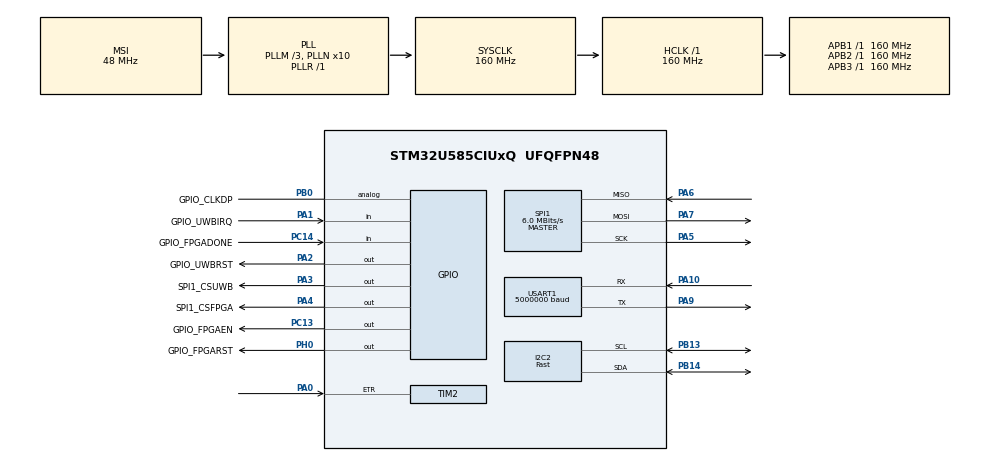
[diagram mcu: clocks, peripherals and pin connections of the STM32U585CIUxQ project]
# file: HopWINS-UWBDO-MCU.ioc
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CORTEX_M33_NS.userName=CORTEX_M33
GPDMA1.DIRECTION_GPDMACH0=DMA_MEMORY_TO_PERIPH
GPDMA1.IPHANDLE_GPDMACH0-SIMPLEREQUEST_GPDMACH0=__NULL
GPDMA1.PRIORITY_GPDMACH0=DMA_HIGH_PRIORITY
GPDMA1.REQUEST_GPDMACH0=GPDMA1_REQUEST_USART1_TX
GPDMA1.SRCINC_GPDMACH0=DMA_SINC_INCREMENTED
GPDMA1.TRANSFERALLOCATEDPORTDEST_GPDMACH0=DMA_DEST_ALLOCATED_PORT1
I2C2.I2C_Speed_Mode=I2C_Fast
I2C2.Timing=0x00F07BFF
Mcu.Family=STM32U5
Mcu.Name=STM32U585CIUxQ
Mcu.Package=UFQFPN48
NVIC.GPDMA1_Channel0_IRQn=true\:5\:0\:false\:false\:true\:false\:true\:true
NVIC.PriorityGroup=NVIC_PRIORITYGROUP_4
NVIC.USART1_IRQn=true\:5\:0\:false\:false\:true\:true\:true\:true
PA0.Signal=S_TIM2_ETR
PA1.GPIO_Label=GPIO_UWBIRQ
PA1.Signal=GPIO_Input
PA10.GPIO_Speed=GPIO_SPEED_FREQ_VERY_HIGH
PA10.Mode=Asynchronous
PA10.Signal=USART1_RX
PA13\ (JTMS/SWDIO).Mode=Trace_Asynchronous_SW
PA13\ (JTMS/SWDIO).Signal=DEBUG_JTMS-SWDIO
PA14\ (JTCK/SWCLK).Mode=Trace_Asynchronous_SW
PA14\ (JTCK/SWCLK).Signal=DEBUG_JTCK-SWCLK
PA2.GPIO_Label=GPIO_UWBRST
PA2.GPIO_ModeDefaultOutputPP=GPIO_MODE_OUTPUT_OD
PA2.GPIO_PuPd=GPIO_NOPULL
PA2.Signal=GPIO_Output
PA3.GPIO_Label=SPI1_CSUWB
PA3.GPIO_Speed=GPIO_SPEED_FREQ_VERY_HIGH
PA3.PinState=GPIO_PIN_SET
PA3.Signal=GPIO_Output
PA4.GPIO_Label=SPI1_CSFPGA
PA4.GPIO_Speed=GPIO_SPEED_FREQ_VERY_HIGH
PA4.PinState=GPIO_PIN_SET
PA4.Signal=GPIO_Output
PA5.Mode=Full_Duplex_Master
PA5.Signal=SPI1_SCK
PA6.Mode=Full_Duplex_Master
PA6.Signal=SPI1_MISO
PA7.Mode=Full_Duplex_Master
PA7.Signal=SPI1_MOSI
PA9.GPIO_Speed=GPIO_SPEED_FREQ_VERY_HIGH
PA9.Mode=Asynchronous
PA9.Signal=USART1_TX
PB0.GPIO_Label=GPIO_CLKDP
PB0.Signal=GPIO_Analog
PB13.Mode=I2C
PB13.Signal=I2C2_SCL
PB14.Mode=I2C
PB14.Signal=I2C2_SDA
PB3\ (JTDO/TRACESWO).Mode=Trace_Asynchronous_SW
PB3\ (JTDO/TRACESWO).Signal=DEBUG_JTDO-SWO
PC13.GPIO_Label=GPIO_FPGAEN
PC13.Signal=GPIO_Output
PC14-OSC32_IN\ (PC14).GPIO_Label=GPIO_FPGADONE
PC14-OSC32_IN\ (PC14).GPIO_PuPd=GPIO_PULLUP
PC14-OSC32_IN\ (PC14).Signal=GPIO_Input
PH0-OSC_IN\ (PH0).GPIO_Label=GPIO_FPGARST
PH0-OSC_IN\ (PH0).GPIO_ModeDefaultOutputPP=GPIO_MODE_OUTPUT_OD
PH0-OSC_IN\ (PH0).GPIO_PuPd=GPIO_PULLUP
PH0-OSC_IN\ (PH0).Signal=GPIO_Output
PWR.PowerMode=PWR_SMPS_SUPPLY
ProjectManager.HeapSize=0x200
ProjectManager.StackSize=0x1000
ProjectManager.TargetToolchain=CMake
RCC.ADCFreq_Value=16000000
RCC.AHBFreq_Value=160000000
RCC.APB1Freq_Value=160000000
RCC.APB1TimFreq_Value=160000000
RCC.APB2Freq_Value=160000000
RCC.APB2TimFreq_Value=160000000
RCC.APB3Freq_Value=160000000
RCC.CortexFreq_Value=160000000
RCC.EPOD_VALUE=48000000
RCC.HCLKFreq_Value=160000000
RCC.HSE_VALUE=16000000
RCC.HSI48_VALUE=48000000
RCC.HSI_VALUE=16000000
RCC.I2C2CLockSelection=RCC_I2C2CLKSOURCE_SYSCLK
RCC.LSE_VALUE=32768
RCC.LSIDIV_VALUE=32000
RCC.MSIClockRange=RCC_MSIRANGE_0
RCC.MSIKClockRange=RCC_MSIKRANGE_0
RCC.MSI_VALUE=48000000
RCC.PLL1R=1
RCC.PLL2FRACN=0
RCC.PLL3FRACN=0
RCC.PLLFRACN=0
RCC.PLLM=3
RCC.PLLN=10
RCC.SPI1CLockSelection=RCC_SPI1CLKSOURCE_MSIK
RCC.SYSCLKFreq_VALUE=160000000
RCC.SYSCLKSource=RCC_SYSCLKSOURCE_PLLCLK
RCC.USART1CLockSelectionVirtual=RCC_USART1CLKSOURCE_SYSCLK
RCC.USBFreq_Value=48000000
RCC.VCOOutputFreq_Value=160000000
RCC.VDD_VALUE=1.8
SH.S_TIM2_ETR.0=TIM2_ETR,ClockSourceETR_Mode2
SPI1.BaudRatePrescaler=SPI_BAUDRATEPRESCALER_8
SPI1.CalculateBaudRate=6.0 MBits/s
SPI1.DataSize=SPI_DATASIZE_8BIT
SPI1.Direction=SPI_DIRECTION_2LINES
SPI1.Mode=SPI_MODE_MASTER
SPI1.VirtualType=VM_MASTER
TIM2.Prescaler=38399
USART1.BaudRate=5000000
USART1.ClockPrescaler=PRESCALER_DIV1
USART1.DMADisableonRxErrorParam=ADVFEATURE_DMA_ENABLEONRXERROR
USART1.FIFOMode=FIFOMODE_ENABLE
USART1.Mode=MODE_TX_RX
USART1.OneBitSampling=UART_ONE_BIT_SAMPLE_DISABLE
USART1.OverrunDisableParam=ADVFEATURE_OVERRUN_ENABLE
USART1.TXFIFOThreshold=TXFIFO_THRESHOLD_1HALFFULL
USART1.VirtualMode-Asynchronous=VM_ASYNC
VP_CRC_VS_CRC.Mode=CRC_Activate
VP_FLASH_SIG_Activate_FlashIP.Mode=Activate_FlashIP
VP_GPDMA1_VS_GPDMACH0.Mode=SIMPLEREQUEST_GPDMACH0
VP_ICACHE_VS_ICACHE.Mode=DirectMappedCache
VP_LPBAMQUEUE_VS_QUEUE.Mode=QUEUEMODE
VP_LPBAM_VS_SIG1.Mode=SmartRun
VP_LPBAM_VS_SIG4.Mode=LPDMA1
VP_MEMORYMAP_VS_MEMORYMAP.Mode=CurAppReg
VP_PWR_VS_LPOM.Mode=PowerOptimisation
VP_PWR_VS_SECSignals.Mode=Security/Privilege
board=custom

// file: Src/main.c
/* USER CODE BEGIN Header */
/**
  ******************************************************************************
  * @file           : main.c
  * @brief          : Main program body
  ******************************************************************************
  * @attention
  *
  * Copyright (c) 2026 STMicroelectronics.
  * All rights reserved.
  *
  * This software is licensed under terms that can be found in the LICENSE file
  * in the root directory of this software component.
  * If no LICENSE file comes with this software, it is provided AS-IS.
  *
  ******************************************************************************
  */
/* USER CODE END Header */
#include "main.h"

/* USER CODE BEGIN Includes */
#include "app.h"
#include "board.h"
#include <string.h>
/* USER CODE END Includes */

/* USER CODE BEGIN PD */
#define HOPWINS_BOARD_VARIANT                  BOARD_VARIANT_FPGA_ICE40UP5K_CLK_DCTCXO_SIT5156_UWB_DW3000_DUAL_RF1_RF2
#define HOPWINS_APP_WORKFLOW                   APP_WORKFLOW_UWB_STS_DUAL_RX_DIAGNOSTIC
#define HOPWINS_UWB_RF_MODE                    DW3000_RF_MODE_MANUAL_1
#define HOPWINS_UWB_PDOA_MODE                  DW3000_PDOA_MODE_DISABLED
#define HOPWINS_CIR_SAMPLE_COUNT               0U
#define HOPWINS_CIR_PRE_FIRST_PATH_SAMPLES     64U
#define HOPWINS_DO_CLOCK_TRACKING              true
#define HOPWINS_DO_LOOP_STRATEGY               DO_LOOP_STRATEGY_ENDPOINT_SLOPE
#define HOPWINS_DO_LOOP_WINDOW_INTERVALS       20U
#define HOPWINS_TIMESTAMP_ESTIMATOR            UWB_TIMESTAMP_ESTIMATOR_DW_ADJUSTED
#define HOPWINS_FOLLOWER_CAPTURE_FORMAT        SERIAL_CAPTURE_FORMAT_OFF
#define HOPWINS_FOLLOWER_RF_AB_TEST            false
#define HOPWINS_FOLLOWER_RF_AB_INTERVAL_MS     10000U

/* USER CODE END PD */

CRC_HandleTypeDef hcrc;

DMA_HandleTypeDef handle_GPDMA1_Channel0;

I2C_HandleTypeDef hi2c2;

SPI_HandleTypeDef hspi1;

TIM_HandleTypeDef htim2;

UART_HandleTypeDef huart1;

/* USER CODE BEGIN PV */
static bool s_uart_ready;
static const char *s_boot_stage = "RESET";
/* USER CODE END PV */

void SystemClock_Config(void);
static void SystemPower_Config(void);
static void MX_GPIO_Init(void);
static void MX_CRC_Init(void);
static void MX_GPDMA1_Init(void);
static void MX_FLASH_Init(void);
static void MX_I2C2_Init(void);
static void MX_SPI1_Init(void);
static void MX_TIM2_Init(void);
static void MX_USART1_UART_Init(void);
static void MX_ICACHE_Init(void);
/* USER CODE BEGIN PFP */
static void APP_BootWrite(const char *text);
/* USER CODE END PFP */

/* USER CODE BEGIN 0 */
static const app_config_t s_app_config = {
  .workflow = HOPWINS_APP_WORKFLOW,
  .uwb_rf_mode = HOPWINS_UWB_RF_MODE,
  .uwb_pdoa_mode = HOPWINS_UWB_PDOA_MODE,
  .cir_sample_count = HOPWINS_CIR_SAMPLE_COUNT,
  .cir_pre_first_path_samples =
      HOPWINS_CIR_PRE_FIRST_PATH_SAMPLES,
  .do_clock_tracking = HOPWINS_DO_CLOCK_TRACKING,
  .do_loop_strategy = HOPWINS_DO_LOOP_STRATEGY,
  .do_loop_window_intervals = HOPWINS_DO_LOOP_WINDOW_INTERVALS,
  .timestamp_estimator = HOPWINS_TIMESTAMP_ESTIMATOR,
  .follower_capture_format = HOPWINS_FOLLOWER_CAPTURE_FORMAT,
  .follower_rf_ab_test = HOPWINS_FOLLOWER_RF_AB_TEST,
  .follower_rf_ab_interval_ms =
      HOPWINS_FOLLOWER_RF_AB_INTERVAL_MS,
};

static void APP_BootWrite(const char *text)
{
  if (!s_uart_ready || (text == NULL)) {
    return;
  }

  (void)board_pc_transmit_blocking(
      (const uint8_t *)text,
      strlen(text));
}

/* USER CODE END 0 */

int main(void)
{

  /* USER CODE BEGIN 1 */
  board_status_t board_status;

  /* USER CODE END 1 */

  /* MCU Configuration--------------------------------------------------------*/

  /* Reset of all peripherals, Initializes the Flash interface and the Systick. */
  HAL_Init();

  /* Configure the System Power */
  SystemPower_Config();

  /* Configure the system clock */
  SystemClock_Config();

  /* Initialize all configured peripherals */
  MX_GPIO_Init();
  MX_GPDMA1_Init();
  MX_USART1_UART_Init();
  MX_CRC_Init();
  MX_FLASH_Init();
  MX_I2C2_Init();
  MX_SPI1_Init();
  MX_TIM2_Init();
  MX_ICACHE_Init();
  /* USER CODE BEGIN 2 */
  APP_BootWrite("BOOT: PERIPHERALS READY\r\n");
  s_boot_stage = "BOARD";
  APP_BootWrite("BOOT: BOARD INIT\r\n");
  board_status = board_init(HOPWINS_BOARD_VARIANT);
  if (board_status != BOARD_OK)
  {
    APP_BootWrite("BOOT: BOARD INIT ERROR: ");
    APP_BootWrite(board_status_name(board_status));
    APP_BootWrite("\r\n");
    Error_Handler();
  }

  APP_BootWrite("BOOT: BOARD READY\r\n");
  s_boot_stage = "APPLICATION";
  APP_BootWrite("BOOT: APP INIT\r\n");
  if (!app_init(&s_app_config)) {
    Error_Handler();
  }
  s_boot_stage = "RUN";
  /* USER CODE END 2 */

  /* Infinite loop */
  while (1)
  {

    /* USER CODE BEGIN 3 */
    app_process();
  }
  /* USER CODE END 3 */
}

void SystemClock_Config(void)
{
  RCC_OscInitTypeDef RCC_OscInitStruct = {0};
  RCC_ClkInitTypeDef RCC_ClkInitStruct = {0};

  /** Configure the main internal regulator output voltage
  */
  if (HAL_PWREx_ControlVoltageScaling(PWR_REGULATOR_VOLTAGE_SCALE1) != HAL_OK)
  {
    Error_Handler();
  }

  /** Initializes the CPU, AHB and APB buses clocks
  */
  RCC_OscInitStruct.OscillatorType = RCC_OSCILLATORTYPE_MSI|RCC_OSCILLATORTYPE_MSIK;
  RCC_OscInitStruct.MSIState = RCC_MSI_ON;
  RCC_OscInitStruct.MSICalibrationValue = RCC_MSICALIBRATION_DEFAULT;
  RCC_OscInitStruct.MSIClockRange = RCC_MSIRANGE_0;
  RCC_OscInitStruct.MSIKClockRange = RCC_MSIKRANGE_0;
  RCC_OscInitStruct.MSIKState = RCC_MSIK_ON;
  RCC_OscInitStruct.PLL.PLLState = RCC_PLL_ON;
  RCC_OscInitStruct.PLL.PLLSource = RCC_PLLSOURCE_MSI;
  RCC_OscInitStruct.PLL.PLLMBOOST = RCC_PLLMBOOST_DIV4;
  RCC_OscInitStruct.PLL.PLLM = 3;
  RCC_OscInitStruct.PLL.PLLN = 10;
  RCC_OscInitStruct.PLL.PLLP = 2;
  RCC_OscInitStruct.PLL.PLLQ = 2;
  RCC_OscInitStruct.PLL.PLLR = 1;
  RCC_OscInitStruct.PLL.PLLRGE = RCC_PLLVCIRANGE_1;
  RCC_OscInitStruct.PLL.PLLFRACN = 0;
  if (HAL_RCC_OscConfig(&RCC_OscInitStruct) != HAL_OK)
  {
    Error_Handler();
  }

  /** Initializes the CPU, AHB and APB buses clocks
  */
  RCC_ClkInitStruct.ClockType = RCC_CLOCKTYPE_HCLK|RCC_CLOCKTYPE_SYSCLK
                              |RCC_CLOCKTYPE_PCLK1|RCC_CLOCKTYPE_PCLK2
                              |RCC_CLOCKTYPE_PCLK3;
  RCC_ClkInitStruct.SYSCLKSource = RCC_SYSCLKSOURCE_PLLCLK;
  RCC_ClkInitStruct.AHBCLKDivider = RCC_SYSCLK_DIV1;
  RCC_ClkInitStruct.APB1CLKDivider = RCC_HCLK_DIV1;
  RCC_ClkInitStruct.APB2CLKDivider = RCC_HCLK_DIV1;
  RCC_ClkInitStruct.APB3CLKDivider = RCC_HCLK_DIV1;

  if (HAL_RCC_ClockConfig(&RCC_ClkInitStruct, FLASH_LATENCY_4) != HAL_OK)
  {
    Error_Handler();
  }
}

/**
  * @brief Power Configuration
  * @retval None
  */
static void SystemPower_Config(void)
{

  /*
   * Switch to SMPS regulator instead of LDO
   */
  if (HAL_PWREx_ConfigSupply(PWR_SMPS_SUPPLY) != HAL_OK)
  {
    Error_Handler();
  }
}

static void MX_CRC_Init(void)
{

  /* USER CODE BEGIN CRC_Init 0 */
  s_boot_stage = "CRC";
  /* USER CODE END CRC_Init 0 */

  hcrc.Instance = CRC;
  hcrc.Init.DefaultPolynomialUse = DEFAULT_POLYNOMIAL_ENABLE;
  hcrc.Init.DefaultInitValueUse = DEFAULT_INIT_VALUE_ENABLE;
  hcrc.Init.InputDataInversionMode = CRC_INPUTDATA_INVERSION_NONE;
  hcrc.Init.OutputDataInversionMode = CRC_OUTPUTDATA_INVERSION_DISABLE;
  hcrc.InputDataFormat = CRC_INPUTDATA_FORMAT_BYTES;
  if (HAL_CRC_Init(&hcrc) != HAL_OK)
  {
    Error_Handler();
  }

}

static void MX_GPDMA1_Init(void)
{

  /* Peripheral clock enable */
  __HAL_RCC_GPDMA1_CLK_ENABLE();

  /* GPDMA1 interrupt Init */
  HAL_NVIC_SetPriority(GPDMA1_Channel0_IRQn, 5, 0);
  HAL_NVIC_EnableIRQ(GPDMA1_Channel0_IRQn);

}

static void MX_FLASH_Init(void)
{

  /* USER CODE BEGIN FLASH_Init 0 */
  s_boot_stage = "FLASH";
  /* USER CODE END FLASH_Init 0 */

  if (HAL_FLASH_Unlock() != HAL_OK)
  {
    Error_Handler();
  }
  if (HAL_FLASH_Lock() != HAL_OK)
  {
    Error_Handler();
  }

}

static void MX_I2C2_Init(void)
{

  /* USER CODE BEGIN I2C2_Init 0 */
  s_boot_stage = "I2C2";
  /* USER CODE END I2C2_Init 0 */

  hi2c2.Instance = I2C2;
  hi2c2.Init.Timing = 0x00F07BFF;
  hi2c2.Init.OwnAddress1 = 0;
  hi2c2.Init.AddressingMode = I2C_ADDRESSINGMODE_7BIT;
  hi2c2.Init.DualAddressMode = I2C_DUALADDRESS_DISABLE;
  hi2c2.Init.OwnAddress2 = 0;
  hi2c2.Init.OwnAddress2Masks = I2C_OA2_NOMASK;
  hi2c2.Init.GeneralCallMode = I2C_GENERALCALL_DISABLE;
  hi2c2.Init.NoStretchMode = I2C_NOSTRETCH_DISABLE;
  if (HAL_I2C_Init(&hi2c2) != HAL_OK)
  {
    Error_Handler();
  }

  /** Configure Analogue filter
  */
  if (HAL_I2CEx_ConfigAnalogFilter(&hi2c2, I2C_ANALOGFILTER_ENABLE) != HAL_OK)
  {
    Error_Handler();
  }

  /** Configure Digital filter
  */
  if (HAL_I2CEx_ConfigDigitalFilter(&hi2c2, 0) != HAL_OK)
  {
    Error_Handler();
  }

}

static void MX_ICACHE_Init(void)
{

  /* USER CODE BEGIN ICACHE_Init 0 */
  s_boot_stage = "ICACHE";
  /* USER CODE END ICACHE_Init 0 */

  /** Enable instruction cache in 1-way (direct mapped cache)
  */
  if (HAL_ICACHE_ConfigAssociativityMode(ICACHE_1WAY) != HAL_OK)
  {
    Error_Handler();
  }
  if (HAL_ICACHE_Enable() != HAL_OK)
  {
    Error_Handler();
  }

}

static void MX_SPI1_Init(void)
{

  /* USER CODE BEGIN SPI1_Init 0 */
  s_boot_stage = "SPI1";
  /* USER CODE END SPI1_Init 0 */

  SPI_AutonomousModeConfTypeDef HAL_SPI_AutonomousMode_Cfg_Struct = {0};

  /* SPI1 parameter configuration*/
  hspi1.Instance = SPI1;
  hspi1.Init.Mode = SPI_MODE_MASTER;
  hspi1.Init.Direction = SPI_DIRECTION_2LINES;
  hspi1.Init.DataSize = SPI_DATASIZE_8BIT;
  hspi1.Init.CLKPolarity = SPI_POLARITY_LOW;
  hspi1.Init.CLKPhase = SPI_PHASE_1EDGE;
  hspi1.Init.NSS = SPI_NSS_SOFT;
  hspi1.Init.BaudRatePrescaler = SPI_BAUDRATEPRESCALER_8;
  hspi1.Init.FirstBit = SPI_FIRSTBIT_MSB;
  hspi1.Init.TIMode = SPI_TIMODE_DISABLE;
  hspi1.Init.CRCCalculation = SPI_CRCCALCULATION_DISABLE;
  hspi1.Init.CRCPolynomial = 0x7;
  hspi1.Init.NSSPMode = SPI_NSS_PULSE_ENABLE;
  hspi1.Init.NSSPolarity = SPI_NSS_POLARITY_LOW;
  hspi1.Init.FifoThreshold = SPI_FIFO_THRESHOLD_01DATA;
  hspi1.Init.MasterSSIdleness = SPI_MASTER_SS_IDLENESS_00CYCLE;
  hspi1.Init.MasterInterDataIdleness = SPI_MASTER_INTERDATA_IDLENESS_00CYCLE;
  hspi1.Init.MasterReceiverAutoSusp = SPI_MASTER_RX_AUTOSUSP_DISABLE;
  hspi1.Init.MasterKeepIOState = SPI_MASTER_KEEP_IO_STATE_DISABLE;
  hspi1.Init.IOSwap = SPI_IO_SWAP_DISABLE;
  hspi1.Init.ReadyMasterManagement = SPI_RDY_MASTER_MANAGEMENT_INTERNALLY;
  hspi1.Init.ReadyPolarity = SPI_RDY_POLARITY_HIGH;
  if (HAL_SPI_Init(&hspi1) != HAL_OK)
  {
    Error_Handler();
  }
  HAL_SPI_AutonomousMode_Cfg_Struct.TriggerState = SPI_AUTO_MODE_DISABLE;
  HAL_SPI_AutonomousMode_Cfg_Struct.TriggerSelection = SPI_GRP1_GPDMA_CH0_TCF_TRG;
  HAL_SPI_AutonomousMode_Cfg_Struct.TriggerPolarity = SPI_TRIG_POLARITY_RISING;
  if (HAL_SPIEx_SetConfigAutonomousMode(&hspi1, &HAL_SPI_AutonomousMode_Cfg_Struct) != HAL_OK)
  {
    Error_Handler();
  }

}

static void MX_TIM2_Init(void)
{

  /* USER CODE BEGIN TIM2_Init 0 */
  s_boot_stage = "TIM2";
  /* USER CODE END TIM2_Init 0 */

  TIM_ClockConfigTypeDef sClockSourceConfig = {0};
  TIM_MasterConfigTypeDef sMasterConfig = {0};

  htim2.Instance = TIM2;
  htim2.Init.Prescaler = 38399;
  htim2.Init.CounterMode = TIM_COUNTERMODE_UP;
  htim2.Init.Period = 4294967295;
  htim2.Init.ClockDivision = TIM_CLOCKDIVISION_DIV1;
  htim2.Init.AutoReloadPreload = TIM_AUTORELOAD_PRELOAD_DISABLE;
  if (HAL_TIM_Base_Init(&htim2) != HAL_OK)
  {
    Error_Handler();
  }
  sClockSourceConfig.ClockSource = TIM_CLOCKSOURCE_ETRMODE2;
  sClockSourceConfig.ClockPolarity = TIM_CLOCKPOLARITY_NONINVERTED;
  sClockSourceConfig.ClockPrescaler = TIM_CLOCKPRESCALER_DIV1;
  sClockSourceConfig.ClockFilter = 0;
  if (HAL_TIM_ConfigClockSource(&htim2, &sClockSourceConfig) != HAL_OK)
  {
    Error_Handler();
  }
  sMasterConfig.MasterOutputTrigger = TIM_TRGO_RESET;
  sMasterConfig.MasterSlaveMode = TIM_MASTERSLAVEMODE_DISABLE;
  if (HAL_TIMEx_MasterConfigSynchronization(&htim2, &sMasterConfig) != HAL_OK)
  {
    Error_Handler();
  }

}

static void MX_USART1_UART_Init(void)
{

  /* USER CODE BEGIN USART1_Init 0 */
  s_boot_stage = "USART1";
  /* USER CODE END USART1_Init 0 */

  huart1.Instance = USART1;
  huart1.Init.BaudRate = 5000000;
  huart1.Init.WordLength = UART_WORDLENGTH_8B;
  huart1.Init.StopBits = UART_STOPBITS_1;
  huart1.Init.Parity = UART_PARITY_NONE;
  huart1.Init.Mode = UART_MODE_TX_RX;
  huart1.Init.HwFlowCtl = UART_HWCONTROL_NONE;
  huart1.Init.OverSampling = UART_OVERSAMPLING_16;
  huart1.Init.OneBitSampling = UART_ONE_BIT_SAMPLE_DISABLE;
  huart1.Init.ClockPrescaler = UART_PRESCALER_DIV1;
  huart1.AdvancedInit.AdvFeatureInit = UART_ADVFEATURE_NO_INIT;
  if (HAL_UART_Init(&huart1) != HAL_OK)
  {
    Error_Handler();
  }
  if (HAL_UARTEx_SetTxFifoThreshold(&huart1, UART_TXFIFO_THRESHOLD_1_2) != HAL_OK)
  {
    Error_Handler();
  }
  if (HAL_UARTEx_SetRxFifoThreshold(&huart1, UART_RXFIFO_THRESHOLD_1_8) != HAL_OK)
  {
    Error_Handler();
  }
  if (HAL_UARTEx_EnableFifoMode(&huart1) != HAL_OK)
  {
    Error_Handler();
  }
  /* USER CODE BEGIN USART1_Init 2 */
  s_uart_ready = true;
  APP_BootWrite("\r\nBOOT: UART READY, BAUD=5000000\r\n");
  /* USER CODE END USART1_Init 2 */

}

static void MX_GPIO_Init(void)
{
  GPIO_InitTypeDef GPIO_InitStruct = {0};

  /* GPIO Ports Clock Enable */
  __HAL_RCC_GPIOC_CLK_ENABLE();
  __HAL_RCC_GPIOH_CLK_ENABLE();
  __HAL_RCC_GPIOA_CLK_ENABLE();
  __HAL_RCC_GPIOB_CLK_ENABLE();

  /*Configure GPIO pin Output Level */
  HAL_GPIO_WritePin(GPIO_FPGAEN_GPIO_Port, GPIO_FPGAEN_Pin, GPIO_PIN_RESET);

  /*Configure GPIO pin Output Level */
  HAL_GPIO_WritePin(GPIO_FPGARST_GPIO_Port, GPIO_FPGARST_Pin, GPIO_PIN_RESET);

  /*Configure GPIO pin Output Level */
  HAL_GPIO_WritePin(GPIO_UWBRST_GPIO_Port, GPIO_UWBRST_Pin, GPIO_PIN_RESET);

  /*Configure GPIO pin Output Level */
  HAL_GPIO_WritePin(GPIOA, SPI1_CSUWB_Pin|SPI1_CSFPGA_Pin, GPIO_PIN_SET);

  /*Configure GPIO pin : GPIO_FPGAEN_Pin */
  GPIO_InitStruct.Pin = GPIO_FPGAEN_Pin;
  GPIO_InitStruct.Mode = GPIO_MODE_OUTPUT_PP;
  GPIO_InitStruct.Pull = GPIO_NOPULL;
  GPIO_InitStruct.Speed = GPIO_SPEED_FREQ_LOW;
  HAL_GPIO_Init(GPIO_FPGAEN_GPIO_Port, &GPIO_InitStruct);

  /*Configure GPIO pin : GPIO_FPGADONE_Pin */
  GPIO_InitStruct.Pin = GPIO_FPGADONE_Pin;
  GPIO_InitStruct.Mode = GPIO_MODE_INPUT;
  GPIO_InitStruct.Pull = GPIO_PULLUP;
  HAL_GPIO_Init(GPIO_FPGADONE_GPIO_Port, &GPIO_InitStruct);

  /*Configure GPIO pin : GPIO_FPGARST_Pin */
  GPIO_InitStruct.Pin = GPIO_FPGARST_Pin;
  GPIO_InitStruct.Mode = GPIO_MODE_OUTPUT_OD;
  GPIO_InitStruct.Pull = GPIO_PULLUP;
  GPIO_InitStruct.Speed = GPIO_SPEED_FREQ_LOW;
  HAL_GPIO_Init(GPIO_FPGARST_GPIO_Port, &GPIO_InitStruct);

  /*Configure GPIO pin : GPIO_UWBIRQ_Pin */
  GPIO_InitStruct.Pin = GPIO_UWBIRQ_Pin;
  GPIO_InitStruct.Mode = GPIO_MODE_INPUT;
  GPIO_InitStruct.Pull = GPIO_NOPULL;
  HAL_GPIO_Init(GPIO_UWBIRQ_GPIO_Port, &GPIO_InitStruct);

  /*Configure GPIO pin : GPIO_UWBRST_Pin */
  GPIO_InitStruct.Pin = GPIO_UWBRST_Pin;
  GPIO_InitStruct.Mode = GPIO_MODE_OUTPUT_OD;
  GPIO_InitStruct.Pull = GPIO_NOPULL;
  GPIO_InitStruct.Speed = GPIO_SPEED_FREQ_LOW;
  HAL_GPIO_Init(GPIO_UWBRST_GPIO_Port, &GPIO_InitStruct);

  /*Configure GPIO pins : SPI1_CSUWB_Pin SPI1_CSFPGA_Pin */
  GPIO_InitStruct.Pin = SPI1_CSUWB_Pin|SPI1_CSFPGA_Pin;
  GPIO_InitStruct.Mode = GPIO_MODE_OUTPUT_PP;
  GPIO_InitStruct.Pull = GPIO_NOPULL;
  GPIO_InitStruct.Speed = GPIO_SPEED_FREQ_VERY_HIGH;
  HAL_GPIO_Init(GPIOA, &GPIO_InitStruct);

  /*Configure GPIO pin : GPIO_CLKDP_Pin */
  GPIO_InitStruct.Pin = GPIO_CLKDP_Pin;
  GPIO_InitStruct.Mode = GPIO_MODE_ANALOG;
  GPIO_InitStruct.Pull = GPIO_NOPULL;
  HAL_GPIO_Init(GPIO_CLKDP_GPIO_Port, &GPIO_InitStruct);

}

/* USER CODE BEGIN 4 */
void Fatal_Error_Handler(const char *reason)
{
  if (s_uart_ready) {
    board_pc_tx_abort();
  }
  APP_BootWrite("\r\nFATAL: ");
  APP_BootWrite((reason != NULL) ? reason : "UNKNOWN");
  APP_BootWrite("\r\n");
  __disable_irq();
  while (1) {
  }
}

/* USER CODE END 4 */

void Error_Handler(void)
{
  /* USER CODE BEGIN Error_Handler_Debug */
  Fatal_Error_Handler(s_boot_stage);
  /* USER CODE END Error_Handler_Debug */
}
